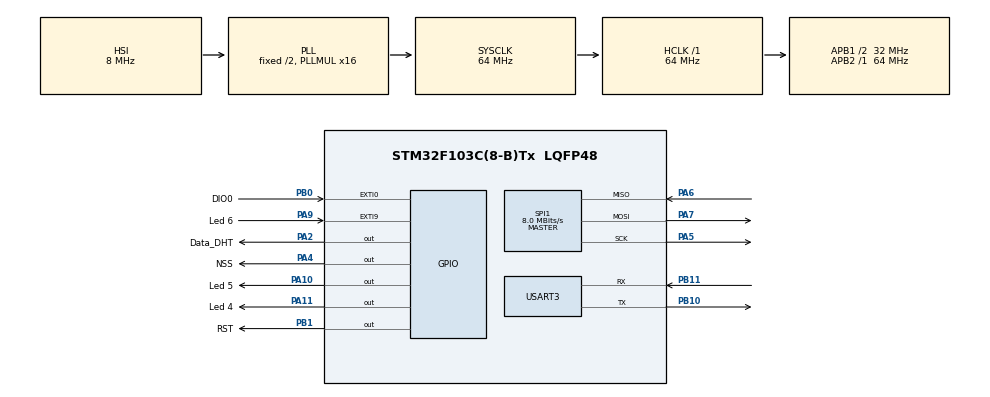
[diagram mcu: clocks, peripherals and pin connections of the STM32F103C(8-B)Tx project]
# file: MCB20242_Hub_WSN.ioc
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Mcu.Family=STM32F1
Mcu.Name=STM32F103C(8-B)Tx
Mcu.Package=LQFP48
NVIC.EXTI0_IRQn=true\:0\:0\:false\:false\:true\:true\:true\:true
NVIC.PriorityGroup=NVIC_PRIORITYGROUP_4
NVIC.RTC_Alarm_IRQn=true\:0\:0\:false\:false\:true\:true\:true\:true
NVIC.RTC_IRQn=true\:0\:0\:false\:false\:true\:true\:true\:true
PA10.GPIO_Label=Led 5
PA10.Signal=GPIO_Output
PA11.GPIO_Label=Led 4
PA11.Signal=GPIO_Output
PA13.Mode=Serial_Wire
PA13.Signal=SYS_JTMS-SWDIO
PA14.Mode=Serial_Wire
PA14.Signal=SYS_JTCK-SWCLK
PA2.GPIO_Label=Data_DHT
PA2.Signal=GPIO_Output
PA4.GPIO_Label=NSS
PA4.Signal=GPIO_Output
PA5.Mode=Full_Duplex_Master
PA5.Signal=SPI1_SCK
PA6.Mode=Full_Duplex_Master
PA6.Signal=SPI1_MISO
PA7.Mode=Full_Duplex_Master
PA7.Signal=SPI1_MOSI
PA9.GPIO_Label=Led 6
PA9.Signal=GPXTI9
PB0.GPIO_Label=DIO0
PB0.Signal=GPXTI0
PB1.GPIO_Label=RST
PB1.Signal=GPIO_Output
PB10.Mode=Asynchronous
PB10.Signal=USART3_TX
PB11.Mode=Asynchronous
PB11.Signal=USART3_RX
PD0-OSC_IN.Mode=HSE-External-Clock-Source
PD0-OSC_IN.Signal=RCC_OSC_IN
PD1-OSC_OUT.Mode=HSE-External-Clock-Source
PD1-OSC_OUT.Signal=RCC_OSC_OUT
ProjectManager.HeapSize=0x200
ProjectManager.StackSize=0x400
ProjectManager.TargetToolchain=STM32CubeIDE
RCC.AHBFreq_Value=64000000
RCC.APB1CLKDivider=RCC_HCLK_DIV2
RCC.APB1Freq_Value=32000000
RCC.APB1TimFreq_Value=64000000
RCC.APB2Freq_Value=64000000
RCC.APB2TimFreq_Value=64000000
RCC.HCLKFreq_Value=64000000
RCC.PLLMUL=RCC_PLL_MUL16
RCC.SYSCLKFreq_VALUE=64000000
RCC.SYSCLKSource=RCC_SYSCLKSOURCE_PLLCLK
RCC.USBFreq_Value=64000000
SPI1.BaudRatePrescaler=SPI_BAUDRATEPRESCALER_8
SPI1.CalculateBaudRate=8.0 MBits/s
SPI1.Direction=SPI_DIRECTION_2LINES
SPI1.Mode=SPI_MODE_MASTER
SPI1.VirtualType=VM_MASTER
USART3.VirtualMode=VM_ASYNC
VP_RTC_VS_RTC_Activate.Mode=RTC_Enabled
board=custom

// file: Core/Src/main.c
/* USER CODE BEGIN Header */
/**
  ******************************************************************************
  * @file           : main.c
  * @brief          : Main program body
  ******************************************************************************
  * @attention
  *
  * Copyright (c) 2025 STMicroelectronics.
  * All rights reserved.
  *
  * This software is licensed under terms that can be found in the LICENSE file
  * in the root directory of this software component.
  * If no LICENSE file comes with this software, it is provided AS-IS.
  *
  ******************************************************************************
  */
/* USER CODE END Header */
#include "main.h"
#include "lora.h"
#include <string.h>
#include <stdio.h>
#include <stdbool.h>

/* USER CODE BEGIN PD */
void SystemClock_Config(void);
static void MX_GPIO_Init(void);
static void MX_RTC_Init(void);
static void MX_SPI1_Init(void);
static void MX_USART3_UART_Init(void);
/* USER CODE END PD */

RTC_HandleTypeDef hrtc;

SPI_HandleTypeDef hspi1;

UART_HandleTypeDef huart3;

/* USER CODE BEGIN PV */
int _write(int fd, char * ptr, int len) {
  HAL_UART_Transmit( & huart3, (uint8_t * ) ptr, len, HAL_MAX_DELAY);
  return len;
}

 lora_pins_t lora_pins;												// Structure variable for lora pins
 lora_t lora;
/* USER CODE END PV */

/* USER CODE BEGIN PFP */
#define SEARCH_NODE_TIMEOUT		2000
#define MAX_NODES 20
#define MAX_RETRIES 3
#define DATA_PACKET_TIMEOUT_MS 1000
#define TIME_CYCLE_GET 10

int nodeCount = 0;
float T_min = 15.0, T_max = 30.0, H_min = 40.0, H_max = 60.0;
typedef struct {
     uint8_t id;
     float latitude;
     float longitude;
     float t; // Temperature
     float h; // Humidity
} node_info_t;
node_info_t nodes[MAX_NODES];

char data_receive[80];
/* USER CODE END PFP */

/* USER CODE BEGIN 0 */
void lora_Init(void){
	//cấu hình lora
	lora_pins.dio0.port  = LORA_DIO0_PORT;
	lora_pins.dio0.pin   = LORA_DIO0_PIN;
	lora_pins.nss.port   = LORA_SS_PORT;				// NSS pin to which port is connected
	lora_pins.nss.pin    = LORA_SS_PIN;					// NSS pin to which pin is connected
	lora_pins.reset.port = LORA_RESET_PORT;			// RESET pin to which port is connected
	lora_pins.reset.pin  = LORA_RESET_PIN;			// RESET pin to which pin is connected
	lora_pins.spi  			 = &hspi1;
	lora.pin = &lora_pins;
	lora.frequency = FREQ_433MHZ;								// 433MHZ Frequency
	//lora.frequency = FREQ_865MHZ;								// 865MHZ Frequency
	//lora.frequency = FREQ_866MHZ;								// 866MHZ Frequency
	//lora.frequency = FREQ_867MHZ;								// 867MHZ Frequency
	lora.bandwidth = BW_125KHz;
	lora.powergain = POWER_11db;
	lora.spreadingfactor = SF_7;
	lora.codingrate = CR_4_5;

	while(lora_init(&lora)){										// Initialize the lora module
		HAL_Delay(1000);
	}

}

char dataBroadcast[] = "RG0P";
void send_broadcast(){
	lora_begin_packet(&lora);
	lora_tx(&lora, (uint8_t*)dataBroadcast, strlen(dataBroadcast));
	lora_end_packet(&lora);
}

void send_ack(uint8_t node_id) {
    char buf[16];
    sprintf(buf, "%d ACK", node_id);
    lora_begin_packet(&lora);
    lora_tx(&lora, (uint8_t*)buf, strlen(buf));
    lora_end_packet(&lora);
    printf("Send ACK to %d\r\n", node_id);
}

void send_stt(uint8_t node_id) {
    char buf[64];
    sprintf(buf, "%d %d %.1f %.1f %.1f %.1f", node_id, nodeCount, T_min, T_max, H_min, H_max);
    lora_begin_packet(&lora);
    lora_tx(&lora, (uint8_t*)buf, strlen(buf));
    lora_end_packet(&lora);
    printf("Send STT to %d: %s\r\n", node_id, buf);
}

void send_ok(uint8_t node_id) {
    char buf[16];
    sprintf(buf, "%d Ok", node_id);
    lora_begin_packet(&lora);
    lora_tx(&lora, (uint8_t*)buf, strlen(buf));
    lora_end_packet(&lora);
    printf("Send Ok to %d\r\n", node_id);
}

void send_request(uint8_t node_id) {
    char buf[16];
    sprintf(buf, "%d R", node_id);
    lora_begin_packet(&lora);
    lora_tx(&lora, (uint8_t*)buf, strlen(buf));
    lora_end_packet(&lora);

    printf("Send Request to %d\r\n", node_id);
}

int search_Node(){
	send_broadcast();
	char buf[60];
	uint32_t timeStart = HAL_GetTick();
	while (HAL_GetTick() - timeStart <= SEARCH_NODE_TIMEOUT){

		uint8_t ret = lora_prasePacket(&lora);
		uint8_t i = 0;
		if (ret) {
		i = 0;
		while (lora_available(&lora) && i < sizeof(buf) - 1) {
			buf[i++] = lora_read(&lora);
		}
		buf[i] = '\0';

		if (strncmp(buf, "RG", 2) == 0) {
            int node_id;
            float lat, lon;
			sscanf(buf + 3, "%d %f %f", &node_id, &lat, &lon);
//			send_ack(node_id);
			// Thêm node vào danh sách nếu chưa có
			int exists = 0;
			for (int i = 0; i < nodeCount; i++) {
				if (nodes[i].id == node_id) {
					exists = 1;
					break;
				}
			}
			if (!exists && nodeCount < MAX_NODES) {
				nodes[nodeCount].id = node_id;
				nodes[nodeCount].latitude = lat;
				nodes[nodeCount].longitude = lon;
				nodeCount++;
			}

			HAL_Delay(100);

			send_stt(node_id);

			printf("Node register: %s\r\n", buf);
			printf("Node ID: %d, x: %f, y: %f\n", node_id, lat, lon);

			sprintf(data_receive, buf);
			return 1;
			}
		}
	}
	return 0;
}

void send_data(char* data){
	// Gửi gói tin data
	lora_begin_packet(&lora);
	lora_tx(&lora, (uint8_t *)data, strlen(data));
	lora_end_packet(&lora);
}

int receive_data(uint8_t *node_id, float *t, float *h, uint8_t nodeid_i) {
	uint8_t buf[60];
//    uint8_t ret = lora_prasePacket(&lora);
	uint8_t ret =0;

	uint32_t timeStart = HAL_GetTick();

	uint8_t retryNum = 0;

	while(!ret){
	  ret = lora_prasePacket(&lora);
	  if(ret){
	   //Nhận gói tin
	   uint8_t i = 0;
	   memset(buf, 0, sizeof(buf));

	   retryNum = 0;

	    while (lora_available(&lora)) {
	    	buf[i++] = lora_read(&lora);
	   }
	    buf[i] = '\0'; // Kết thúc chuỗi

	    sscanf(buf, "%d %f %f", node_id, t, h);

	    return 1;
	  }

	if (HAL_GetTick() - timeStart >= 1000){
		retryNum += 1;
		send_request(nodeid_i);
		timeStart = HAL_GetTick();
	}
	if (retryNum >=4){
		retryNum = 0;
		return 0;
	}
	}
    return 0;
}

void get_data_Node(){
    for (int i = 0; i < nodeCount; i++) {
        uint8_t node_id = nodes[i].id;
        int retries = 0, data_ok = 0;
        while (retries < MAX_RETRIES && !data_ok) {
            send_request(node_id);
            HAL_Delay(50);
            uint32_t t0 = HAL_GetTick();
            while (HAL_GetTick() - t0 < DATA_PACKET_TIMEOUT_MS) {
                uint8_t recv_id;
                float t1, h1;
                if (receive_data(&recv_id, &t1, &h1, nodes[i].id) && recv_id == node_id) {
                    nodes[i].t = t1;
                    nodes[i].h = h1;
//                    send_ack(node_id);
                    HAL_Delay(100);

                    send_ok(node_id);
                    data_ok = 1;
                    break;
                }
            }
            retries++;
        }
    }
}

void send_data_PC() {
    char json_buf[512] = {0};
    char node_buf[128];
    int first = 1;

    strcpy(json_buf, "[\r\n");

    for (int i = 0; i < MAX_NODES; i++) {
        if (nodes[i].id == 0) continue; // Bỏ qua node chưa khởi tạo

        // Format từng node
        snprintf(node_buf, sizeof(node_buf),
            "  {\"id\": %d, \"x\": %.5f, \"y\": %.5f, \"temp\": %.2f, \"humid\": %.2f}",
            nodes[i].id,
            nodes[i].latitude,
            nodes[i].longitude,
            nodes[i].t,
            nodes[i].h
        );

        // Thêm dấu phẩy nếu không phải node đầu tiên
        if (!first) {
            strcat(json_buf, ",\r\n");
        } else {
            first = 0;
        }
        strcat(json_buf, node_buf);
    }

    strcat(json_buf, "\r\n]\r\n");

    // Gửi qua UART3
    HAL_UART_Transmit(&huart3, (uint8_t*)json_buf, strlen(json_buf), 1000);
}

/* USER CODE END 0 */

int main(void)
{

  /* MCU Configuration--------------------------------------------------------*/

  /* Reset of all peripherals, Initializes the Flash interface and the Systick. */
  HAL_Init();

  /* Configure the system clock */
  SystemClock_Config();

  /* Initialize all configured peripherals */
  MX_GPIO_Init();
  MX_RTC_Init();
  MX_SPI1_Init();
  MX_USART3_UART_Init();
  HAL_GPIO_WritePin(GPIOA,GPIO_PIN_11,GPIO_PIN_SET);
  HAL_GPIO_WritePin(GPIOA,GPIO_PIN_10,GPIO_PIN_SET);
  HAL_GPIO_WritePin(GPIOA,GPIO_PIN_9,GPIO_PIN_SET);

  /* USER CODE BEGIN 2 */
  lora_Init();
  /* USER CODE END 2 */
  printf("Starting.......\n");
  /* Infinite loop */
  /* USER CODE BEGIN WHILE */
  while (1)
  {
    /* USER CODE BEGIN 3 */
	  //Step 0: Reset Node table
	  printf("Step 0: Reset Node table\n");
	  nodeCount = 0;
	  memset(nodes, 0, sizeof(nodes));

	  //Step 1: Search Node
	  printf("Step 1: Search Node\n");
	  uint32_t timeSearch = HAL_GetTick();
	  while (HAL_GetTick() - timeSearch <= 5000){
		  search_Node();
	  }

	 //Step 2: Get data from Node
	  printf("Step 2: Get data\n");
	  get_data_Node();

	  //Step 3: Send data to PC
	  printf("Step 3: Send data to PC\n");
	  send_data_PC();

	  printf("Step 4: Sleep %d second\n", TIME_CYCLE_GET * 1000);
	  for (int i = 0; i <= TIME_CYCLE_GET; i ++){
		  HAL_Delay(1000);
	  }
  }
  /* USER CODE END 3 */
}

void SystemClock_Config(void)
{
  RCC_OscInitTypeDef RCC_OscInitStruct = {0};
  RCC_ClkInitTypeDef RCC_ClkInitStruct = {0};
  RCC_PeriphCLKInitTypeDef PeriphClkInit = {0};

  /** Initializes the RCC Oscillators according to the specified parameters
  * in the RCC_OscInitTypeDef structure.
  */
  RCC_OscInitStruct.OscillatorType = RCC_OSCILLATORTYPE_HSI|RCC_OSCILLATORTYPE_LSI;
  RCC_OscInitStruct.HSIState = RCC_HSI_ON;
  RCC_OscInitStruct.HSICalibrationValue = RCC_HSICALIBRATION_DEFAULT;
  RCC_OscInitStruct.LSIState = RCC_LSI_ON;
  RCC_OscInitStruct.PLL.PLLState = RCC_PLL_ON;
  RCC_OscInitStruct.PLL.PLLSource = RCC_PLLSOURCE_HSI_DIV2;
  RCC_OscInitStruct.PLL.PLLMUL = RCC_PLL_MUL16;
  if (HAL_RCC_OscConfig(&RCC_OscInitStruct) != HAL_OK)
  {
    Error_Handler();
  }

  /** Initializes the CPU, AHB and APB buses clocks
  */
  RCC_ClkInitStruct.ClockType = RCC_CLOCKTYPE_HCLK|RCC_CLOCKTYPE_SYSCLK
                              |RCC_CLOCKTYPE_PCLK1|RCC_CLOCKTYPE_PCLK2;
  RCC_ClkInitStruct.SYSCLKSource = RCC_SYSCLKSOURCE_PLLCLK;
  RCC_ClkInitStruct.AHBCLKDivider = RCC_SYSCLK_DIV1;
  RCC_ClkInitStruct.APB1CLKDivider = RCC_HCLK_DIV2;
  RCC_ClkInitStruct.APB2CLKDivider = RCC_HCLK_DIV1;

  if (HAL_RCC_ClockConfig(&RCC_ClkInitStruct, FLASH_LATENCY_2) != HAL_OK)
  {
    Error_Handler();
  }
  PeriphClkInit.PeriphClockSelection = RCC_PERIPHCLK_RTC;
  PeriphClkInit.RTCClockSelection = RCC_RTCCLKSOURCE_LSI;
  if (HAL_RCCEx_PeriphCLKConfig(&PeriphClkInit) != HAL_OK)
  {
    Error_Handler();
  }
}

static void MX_RTC_Init(void)
{

  /** Initialize RTC Only
  */
  hrtc.Instance = RTC;
  hrtc.Init.AsynchPrediv = RTC_AUTO_1_SECOND;
  hrtc.Init.OutPut = RTC_OUTPUTSOURCE_ALARM;
  if (HAL_RTC_Init(&hrtc) != HAL_OK)
  {
    Error_Handler();
  }

}

static void MX_SPI1_Init(void)
{

  /* SPI1 parameter configuration*/
  hspi1.Instance = SPI1;
  hspi1.Init.Mode = SPI_MODE_MASTER;
  hspi1.Init.Direction = SPI_DIRECTION_2LINES;
  hspi1.Init.DataSize = SPI_DATASIZE_8BIT;
  hspi1.Init.CLKPolarity = SPI_POLARITY_LOW;
  hspi1.Init.CLKPhase = SPI_PHASE_1EDGE;
  hspi1.Init.NSS = SPI_NSS_SOFT;
  hspi1.Init.BaudRatePrescaler = SPI_BAUDRATEPRESCALER_8;
  hspi1.Init.FirstBit = SPI_FIRSTBIT_MSB;
  hspi1.Init.TIMode = SPI_TIMODE_DISABLE;
  hspi1.Init.CRCCalculation = SPI_CRCCALCULATION_DISABLE;
  hspi1.Init.CRCPolynomial = 10;
  if (HAL_SPI_Init(&hspi1) != HAL_OK)
  {
    Error_Handler();
  }

}

static void MX_USART3_UART_Init(void)
{

  huart3.Instance = USART3;
  huart3.Init.BaudRate = 115200;
  huart3.Init.WordLength = UART_WORDLENGTH_8B;
  huart3.Init.StopBits = UART_STOPBITS_1;
  huart3.Init.Parity = UART_PARITY_NONE;
  huart3.Init.Mode = UART_MODE_TX_RX;
  huart3.Init.HwFlowCtl = UART_HWCONTROL_NONE;
  huart3.Init.OverSampling = UART_OVERSAMPLING_16;
  if (HAL_UART_Init(&huart3) != HAL_OK)
  {
    Error_Handler();
  }

}

static void MX_GPIO_Init(void)
{
  GPIO_InitTypeDef GPIO_InitStruct = {0};

  /* GPIO Ports Clock Enable */
  __HAL_RCC_GPIOD_CLK_ENABLE();
  __HAL_RCC_GPIOA_CLK_ENABLE();
  __HAL_RCC_GPIOB_CLK_ENABLE();

  /*Configure GPIO pin Output Level */
  HAL_GPIO_WritePin(GPIOA, Data_DHT_Pin|NSS_Pin|Led_5_Pin|Led_4_Pin, GPIO_PIN_RESET);

  /*Configure GPIO pin Output Level */
  HAL_GPIO_WritePin(RST_GPIO_Port, RST_Pin, GPIO_PIN_RESET);

  /*Configure GPIO pins : Data_DHT_Pin NSS_Pin Led_5_Pin Led_4_Pin */
  GPIO_InitStruct.Pin = Data_DHT_Pin|NSS_Pin|Led_5_Pin|Led_4_Pin;
  GPIO_InitStruct.Mode = GPIO_MODE_OUTPUT_PP;
  GPIO_InitStruct.Pull = GPIO_NOPULL;
  GPIO_InitStruct.Speed = GPIO_SPEED_FREQ_LOW;
  HAL_GPIO_Init(GPIOA, &GPIO_InitStruct);

  /*Configure GPIO pin : DIO0_Pin */
  GPIO_InitStruct.Pin = DIO0_Pin;
  GPIO_InitStruct.Mode = GPIO_MODE_IT_RISING;
  GPIO_InitStruct.Pull = GPIO_NOPULL;
  HAL_GPIO_Init(DIO0_GPIO_Port, &GPIO_InitStruct);

  /*Configure GPIO pin : RST_Pin */
  GPIO_InitStruct.Pin = RST_Pin;
  GPIO_InitStruct.Mode = GPIO_MODE_OUTPUT_PP;
  GPIO_InitStruct.Pull = GPIO_NOPULL;
  GPIO_InitStruct.Speed = GPIO_SPEED_FREQ_LOW;
  HAL_GPIO_Init(RST_GPIO_Port, &GPIO_InitStruct);

  /*Configure GPIO pin : Led_6_Pin */
  GPIO_InitStruct.Pin = Led_6_Pin;
  GPIO_InitStruct.Mode = GPIO_MODE_IT_RISING;
  GPIO_InitStruct.Pull = GPIO_NOPULL;
  HAL_GPIO_Init(Led_6_GPIO_Port, &GPIO_InitStruct);

  /* EXTI interrupt init*/
  HAL_NVIC_SetPriority(EXTI0_IRQn, 0, 0);
  HAL_NVIC_EnableIRQ(EXTI0_IRQn);

}

void Error_Handler(void)
{
  __disable_irq();
  while (1)
  {
  }
}
